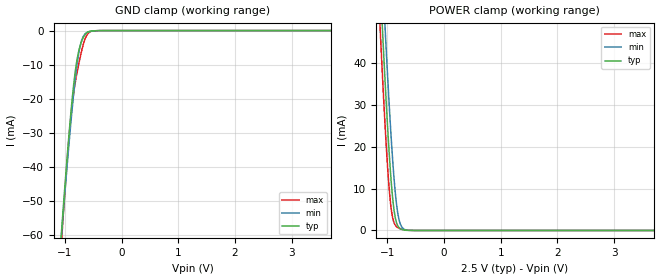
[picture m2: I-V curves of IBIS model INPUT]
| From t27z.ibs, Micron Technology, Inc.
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|   MODEL INPUT
[Model]   INPUT
Model_type   Input
Vinl = 0.940V
Vinh = 1.560V
|   typ   min   max
C_comp   1.38pF   1.23pF   1.52pF
[Model Spec]
| Input threshold voltage corners
Vinh   1.560V   1.460V   1.660V
Vinl   0.940V   0.840V   1.040V
| Overshoot/Undershoot
S_overshoot_high   2.800V   2.600V   3.000V
S_overshoot_low   -0.300V   NA   NA
[Receiver Thresholds]
Vth   =  1.250V
Vth_min  =  1.225V
Vth_max  =  1.275V
Vinh_ac  =  0.310V
Vinh_dc  =  0.150V
Vinl_ac  = -0.310V
Vinl_dc  = -0.150V
Tslew_ac =  20.000ns |Not specified, so set to high value
[Voltage Range]   2.500V   2.300V   2.700V
| Junction Temperature (Ambient temp is 25C typ, 70C min, 0C max)
[Temperature Range]   40.0   85.0   0.0
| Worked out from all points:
|   GND clamp passes 1 mA (typ) near -0.63 V on its own axis
|   POWER clamp passes 1 mA (typ) near -0.81 V on its own axis
[GND Clamp]
|   Voltage   I(typ)   I(min)   I(max)
-2.5V     -430mA     -398mA     -472.6mA
-1.07V    -61.58mA   NA         NA
-1.035V   -53.63mA   NA         NA
-950mV    -35.21mA   NA         NA
-905mV    -26.27mA   NA         NA
-865mV    -19.13mA   NA         NA
-815mV    -11.85mA   NA         NA
-755mV    -6.068mA   NA         NA
-710mV    -3.401mA   NA         NA
-645mV    -1.191mA   NA         NA
-590mV    -395.4uA   NA         NA
5V        0A         0A         0A
[POWER Clamp]
|   Voltage   I(typ)   I(min)   I(max)
-2.5V     500.2mA    509.1mA    493.4mA
-1.145V   64.53mA    NA         NA
-1.12V    57.37mA    NA         NA
-1.095V   50.36mA    63.49mA    39.27mA
-1.045V   36.9mA     NA         NA
-1.025V   31.79mA    NA         NA
-955mV    15.89mA    27.1mA     8.019mA
-880mV    4.673mA    NA         1.793mA
-815mV    1.091mA    4.04mA     662.9uA
-750mV    265.6uA    NA         NA
-665mV    43.49uA    NA         NA
5V        0A         0A         0A
